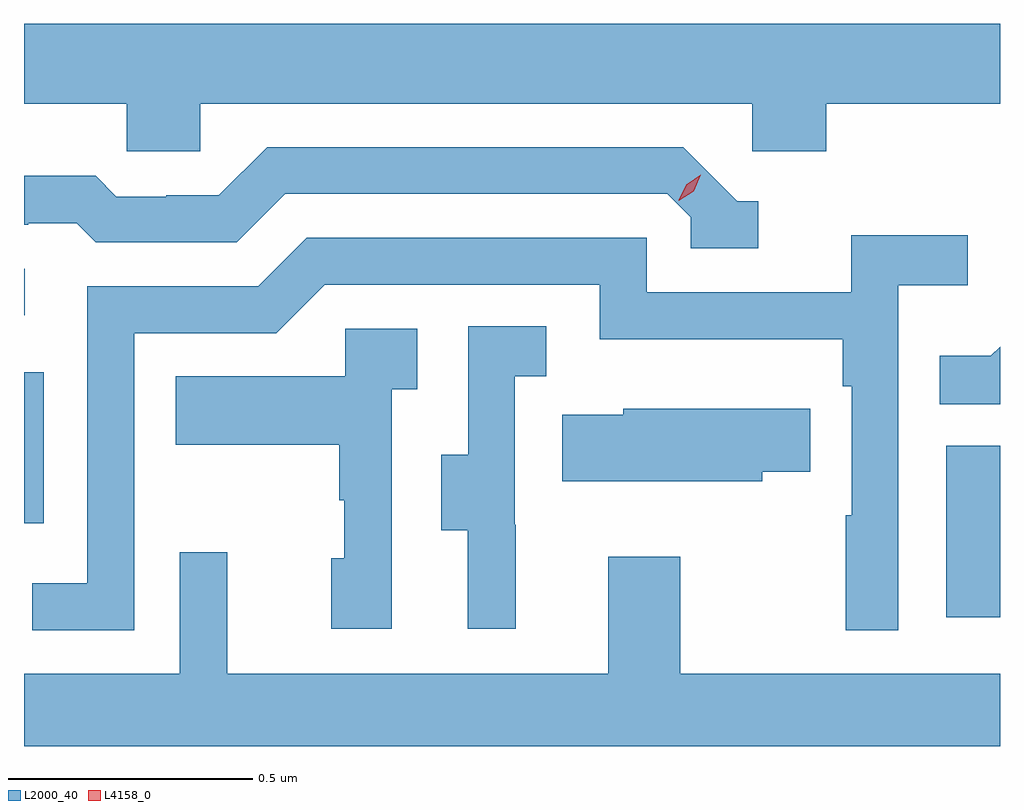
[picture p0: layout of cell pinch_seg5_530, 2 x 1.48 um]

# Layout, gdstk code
import gdstk
lib = gdstk.Library(unit=1e-6, precision=1e-09)
def R(c, l, rs):  # rectangles x0, y0, x1, y1
    for r in rs: c.add(gdstk.rectangle(r[:2], r[2:], *l))
def P(c, l, *ps):  # polygons
    for p in ps: c.add(gdstk.Polygon(p, *l))
L2000_40 = (2000, 40)
L4158_0 = (4158, 0)

pinch_seg5_530 = lib.new_cell('pinch_seg5_530')
R(pinch_seg5_530, L2000_40, [(931.688,833.064,931.798,833.415), (929.798,833.256,929.838,833.566), (929.798,833.682,929.8,833.778)])
P(pinch_seg5_530, L2000_40, [(930.159,834.116),(931.29,834.116),(931.29,834.018),(931.442,834.018),(931.442,834.116),(931.798,834.116),(931.798,834.28),(929.798,834.28),(929.798,834.116),(930.009,834.116),(930.009,834.018),(930.159,834.018)],
  [(931.303,833.916),(931.26,833.916),(931.149,834.027),(930.296,834.027),(930.197,833.928),(930.09,833.928),(930.09,833.925),(929.987,833.925),(929.945,833.968),(929.798,833.968),(929.798,833.868),(929.807,833.868),(929.807,833.871),(929.906,833.871),(929.945,833.832),(930.234,833.832),(930.333,833.931),(931.116,833.931),(931.164,833.883),(931.164,833.82),(931.303,833.82)],
  [(930.024,833.646),(930.315,833.646),(930.414,833.745),(930.978,833.745),(930.978,833.633),(931.476,833.633),(931.476,833.537),(931.494,833.537),(931.494,833.273),(931.482,833.273),(931.482,833.037),(931.59,833.037),(931.59,833.744),(931.732,833.744),(931.732,833.846),(931.493,833.846),(931.493,833.73),(931.074,833.73),(931.074,833.841),(930.377,833.841),(930.278,833.742),(929.928,833.742),(929.928,833.133),(929.815,833.133),(929.815,833.037),(930.024,833.037)],
  [(930.806,833.253),(930.804,833.253),(930.804,833.557),(930.868,833.557),(930.868,833.66),(930.708,833.66),(930.708,833.397),(930.653,833.397),(930.653,833.242),(930.707,833.242),(930.707,833.04),(930.806,833.04)],
  [(930.552,833.531),(930.604,833.531),(930.604,833.655),(930.456,833.655),(930.456,833.557),(930.109,833.557),(930.109,833.417),(930.444,833.417),(930.444,833.303),(930.454,833.303),(930.454,833.184),(930.428,833.184),(930.428,833.04),(930.552,833.04)],
  [(931.798,833.618),(931.779,833.599),(931.675,833.599),(931.675,833.5),(931.798,833.5)],
  [(931.311,833.362),(931.409,833.362),(931.409,833.491),(931.026,833.491),(931.026,833.479),(930.901,833.479),(930.901,833.342),(931.311,833.342)],
  [(931.798,832.948),(931.143,832.948),(931.143,833.188),(930.995,833.188),(930.995,832.948),(930.215,832.948),(930.215,833.197),(930.117,833.197),(930.117,832.948),(929.798,832.948),(929.798,832.799),(931.798,832.799)])
P(pinch_seg5_530, L4158_0, [(931.14,833.917),(931.14,833.918),(931.155,833.95),(931.185,833.97),(931.185,833.97),(931.185,833.97),(931.17,833.937),(931.14,833.917)])

lib.write_gds('pinch_seg5_530.gds')
